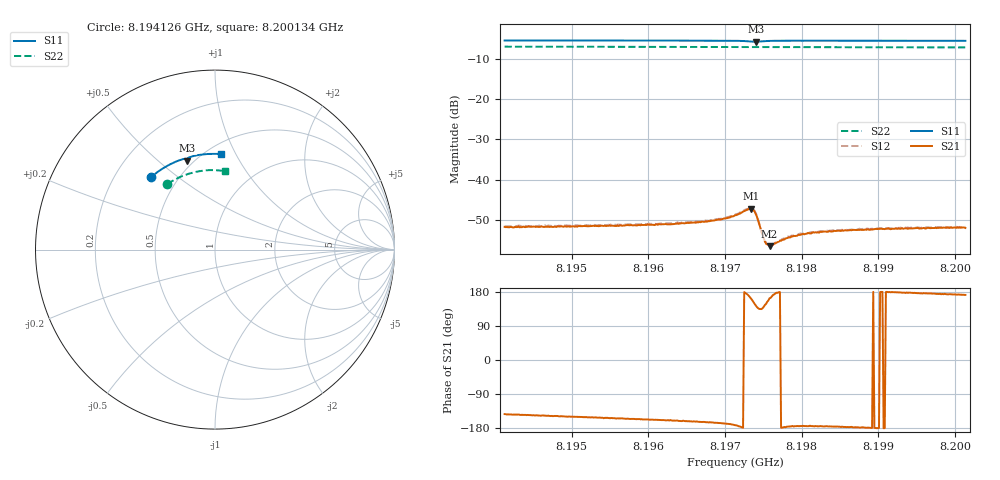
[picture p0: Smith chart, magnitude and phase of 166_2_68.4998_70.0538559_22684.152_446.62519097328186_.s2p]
#  HZ  S  RI  R  50.00
! Rohde & Schwarz Vector Network Analyzer
! Rohde-Schwarz,ZNB20-2Port,1311601062101988,3.16
! Created: UTC 3/20/2024, 5:11:08 PM
! freq[Hz]  re:S11  im:S11  re:S21  im:S21  re:S12  im:S12  re:S22  im:S22
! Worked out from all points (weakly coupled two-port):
!   401 points, 8.194126 GHz to 8.200134 GHz, reference 50 ohm
!   highest |S21| = -47.25 dB at 8.19734 GHz (marker M1); lowest = -56.5 dB at 8.197581 GHz (marker M2)
!   lowest |S11| = -5.7 dB at 8.1974 GHz (marker M3), VSWR 3.15, Z = 23.2 + j31.4 ohm
!   |S11| at or under -10 dB: nowhere
!   |S22| runs from -7.1 to -6.9 dB; largest |S21 - S12| = 0.00024
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8.1941263e9  -0.3573 0.4027  -0.00206 -0.00156  -0.00216 -0.00152  -0.2653 0.3647
8.1951325e9  -0.3006 0.4458  -0.00229 -0.00131  -0.0024 -0.00125  -0.217 0.3936
8.1961387e9  -0.2385 0.4809  -0.00261 -0.00104  -0.00268 -0.000938  -0.1654 0.4164
8.1963039e9  -0.2277 0.4859  -0.00262 -0.000972  -0.00272 -0.000892  -0.1566 0.4195
8.1967996e9  -0.1943 0.4994  -0.00293 -0.000829  -0.00302 -0.000728  -0.13 0.4277
8.1969798e9  -0.1808 0.5034  -0.0032 -0.000715  -0.00329 -0.000605  -0.1199 0.43
8.19713e9  -0.1687 0.5061  -0.00357 -0.000501  -0.00364 -0.000333  -0.1118 0.4321
8.1972801e9  -0.1547 0.5043  -0.00418 0.000361  -0.00426 0.000529  -0.1034 0.4336
8.1973402e9  -0.1508 0.4996  -0.00413 0.00135  -0.00416 0.00158  -0.1001 0.4341
8.1973702e9  -0.1511 0.497  -0.00371 0.00191  -0.00372 0.00207  -0.0986 0.4345
8.1974003e9  -0.1534 0.4953  -0.00304 0.00221  -0.00301 0.0024  -0.0969 0.4347
8.1974303e9  -0.1559 0.4963  -0.00229 0.00214  -0.00224 0.00227  -0.0953 0.435
8.1975054e9  -0.1564 0.5038  -0.00143 0.00117  -0.0014 0.00125  -0.0913 0.436
8.1975204e9  -0.1556 0.5051  -0.0014 0.000965  -0.00136 0.00106  -0.0904 0.4362
8.1975505e9  -0.1536 0.5075  -0.0014 0.000695  -0.00137 0.000756  -0.0887 0.4365
8.1975805e9  -0.1514 0.5096  -0.00142 0.000437  -0.00145 0.000559  -0.087 0.4368
8.1976256e9  -0.1477 0.5118  -0.00154 0.000227  -0.00158 0.000285  -0.0847 0.4373
8.1978508e9  -0.1302 0.5186  -0.00191 -0.000158  -0.00197 -7.29e-05  -0.0719 0.4392
8.1981362e9  -0.1092 0.5236  -0.00218 -0.000217  -0.00222 -0.000121  -0.0559 0.4409
8.1984516e9  -0.0866 0.5276  -0.0023 -0.000169  -0.00235 -8.13e-05  -0.0381 0.4425
8.1991424e9  -0.0375 0.5327  -0.00245 2.46e-05  -0.00248 0.000146  0.00132 0.4428
8.2001336e9  0.0328 0.5319  -0.00248 0.000358  -0.00255 0.000501  0.0573 0.4372
